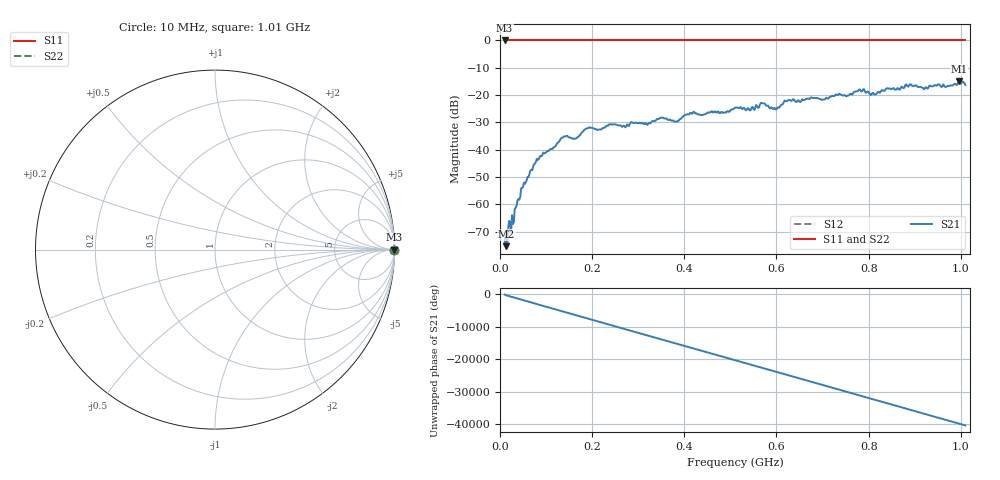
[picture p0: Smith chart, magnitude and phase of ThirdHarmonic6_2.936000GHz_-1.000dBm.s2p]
! 8/17/2025 8:12:56 AM
! C:\ANRITSUVNA\TEMP\TEMP.S2P
! CHANNEL.1
! TR.MEASUREMENT
! RAW.DATA
! RF.CORRECTION.OFF
! AVERAGING.OFF
! IF.BANDWIDTH: 5KHZ
! SWEEPTYPE:  FREQ.SWEEP(Linear)
! Reference Plane Port Info
! PORT:  PORT1  PORT2
! DISTANCE:  0  m  0  m
! TIME:  0  s  0  s
! PHASE.OFFSET:  0  deg.  0  deg.
! LOSS:  0  dB  0  dB
! REF.LOSS:  0  dB  0  dB
! REF.FREQ:  0  Hz  0  Hz
! Power Info
! POWER:  -20  dBm  -20  dBm
! EFF.POWER:  -20  dBm  -20  dBm
! SOURCE.ATTEN:  0  dB  0  dB
! TEST.ATTEN:  0  dB  0  dB
# GHZ S RI R 50.0
! FREQ.GHZ  S11RE  S11IM  S21RE  S21IM  S12RE  S12IM  S22RE  S22IM
!; PortSelection: Port_12
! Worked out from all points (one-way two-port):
!   501 points, 10 MHz to 1.01 GHz, reference 50 ohm
!   highest |S21| = -14.94 dB at 996 MHz (marker M1); lowest = -75.4 dB at 14 MHz (marker M2)
!   lowest |S11| = 0.0 dB at 10 MHz (marker M3)
!   |S11| at or under -10 dB: nowhere
!   |S22| runs from 0.0 to 0.0 dB; largest |S21 - S12| = 1.2
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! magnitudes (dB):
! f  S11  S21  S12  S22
! 10 MHz  0.0  -74.6  0.0  0.0
! 14 MHz  0.0  -75.4  0.0  0.0
! 50 MHz  0.0  -53.6  0.0  0.0
! 78 MHz  0.0  -44.4  0.0  0.0
! 136 MHz  0.0  -35.6  0.0  0.0
! 162 MHz  0.0  -36.0  0.0  0.0
! 178 MHz  0.0  -33.6  0.0  0.0
! 344 MHz  0.0  -28.8  0.0  0.0
! 382 MHz  0.0  -29.8  0.0  0.0
! 416 MHz  0.0  -26.9  0.0  0.0
! 510 MHz  0.0  -24.7  0.0  0.0
! 540 MHz  0.0  -25.1  0.0  0.0
! 570 MHz  0.0  -23.0  0.0  0.0
! 596 MHz  0.0  -24.7  0.0  0.0
! 622 MHz  0.0  -22.3  0.0  0.0
! 678 MHz  0.0  -21.1  0.0  0.0
! 702 MHz  0.0  -21.6  0.0  0.0
! 778 MHz  0.0  -18.3  0.0  0.0
! 814 MHz  0.0  -19.9  0.0  0.0
! 844 MHz  0.0  -17.7  0.0  0.0
! 996 MHz  0.0  -14.9  0.0  0.0
! 1.01 GHz  0.0  -16.3  0.0  0.0
